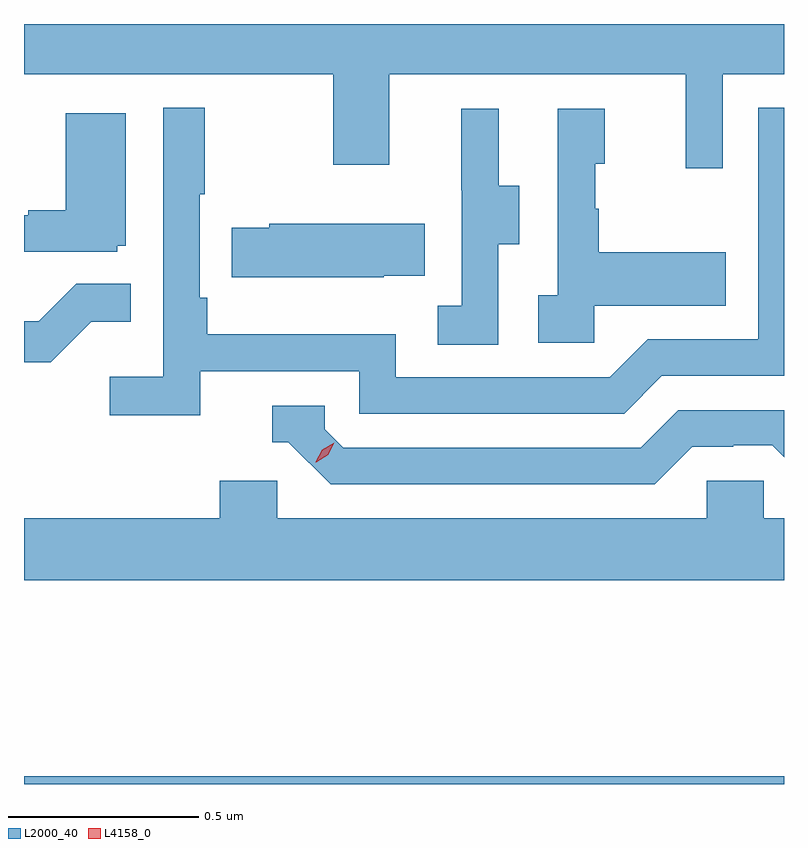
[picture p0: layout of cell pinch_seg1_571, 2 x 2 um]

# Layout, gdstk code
import gdstk
lib = gdstk.Library(unit=1e-6, precision=1e-09)
def R(c, l, rs):  # rectangles x0, y0, x1, y1
    for r in rs: c.add(gdstk.rectangle(r[:2], r[2:], *l))
def P(c, l, *ps):  # polygons
    for p in ps: c.add(gdstk.Polygon(p, *l))
L2000_40 = (2000, 40)
L4158_0 = (4158, 0)

pinch_seg1_571 = lib.new_cell('pinch_seg1_571')
R(pinch_seg1_571, L2000_40, [(1017.714,516.564,1019.714,516.584)])
P(pinch_seg1_571, L2000_40, [(1019.553,518.432),(1019.714,518.432),(1019.714,518.564),(1017.714,518.564),(1017.714,518.432),(1018.528,518.432),(1018.528,518.193),(1018.675,518.193),(1018.675,518.432),(1019.456,518.432),(1019.456,518.184),(1019.553,518.184)],
  [(1018.178,517.65),(1018.596,517.65),(1018.596,517.539),(1019.293,517.539),(1019.392,517.638),(1019.714,517.638),(1019.714,518.343),(1019.646,518.343),(1019.646,517.734),(1019.355,517.734),(1019.256,517.635),(1018.692,517.635),(1018.692,517.747),(1018.196,517.747),(1018.196,517.843),(1018.176,517.843),(1018.176,518.116),(1018.189,518.116),(1018.189,518.344),(1018.08,518.344),(1018.08,517.636),(1017.939,517.636),(1017.939,517.534),(1018.178,517.534)],
  [(1019.214,517.823),(1019.561,517.823),(1019.561,517.963),(1019.227,517.963),(1019.227,518.078),(1019.217,518.078),(1019.217,518.196),(1019.242,518.196),(1019.242,518.341),(1019.118,518.341),(1019.118,517.85),(1019.067,517.85),(1019.067,517.725),(1019.214,517.725)],
  [(1018.962,517.984),(1019.017,517.984),(1019.017,518.139),(1018.963,518.139),(1018.963,518.341),(1018.865,518.341),(1018.865,518.127),(1018.866,518.127),(1018.866,517.823),(1018.803,517.823),(1018.803,517.72),(1018.962,517.72)],
  [(1017.96,517.98),(1017.982,517.98),(1017.982,518.329),(1017.824,518.329),(1017.824,518.074),(1017.725,518.074),(1017.725,518.061),(1017.714,518.061),(1017.714,517.965),(1017.96,517.965)],
  [(1018.661,517.901),(1018.769,517.901),(1018.769,518.038),(1018.359,518.038),(1018.359,518.028),(1018.261,518.028),(1018.261,517.898),(1018.661,517.898)],
  [(1017.891,517.781),(1017.995,517.781),(1017.995,517.88),(1017.851,517.88),(1017.753,517.782),(1017.714,517.782),(1017.714,517.674),(1017.784,517.674)],
  [(1019.473,517.452),(1019.58,517.452),(1019.58,517.455),(1019.683,517.455),(1019.714,517.424),(1019.714,517.548),(1019.436,517.548),(1019.337,517.449),(1018.554,517.449),(1018.506,517.497),(1018.506,517.56),(1018.367,517.56),(1018.367,517.464),(1018.41,517.464),(1018.521,517.353),(1019.374,517.353)],
  [(1019.714,517.264),(1019.661,517.264),(1019.661,517.362),(1019.511,517.362),(1019.511,517.264),(1018.38,517.264),(1018.38,517.362),(1018.229,517.362),(1018.229,517.264),(1017.714,517.264),(1017.714,517.1),(1019.714,517.1)])
P(pinch_seg1_571, L4158_0, [(1018.482,517.411),(1018.482,517.412),(1018.499,517.444),(1018.53,517.462),(1018.531,517.462),(1018.531,517.462),(1018.514,517.43),(1018.483,517.411)])

lib.write_gds('pinch_seg1_571.gds')
